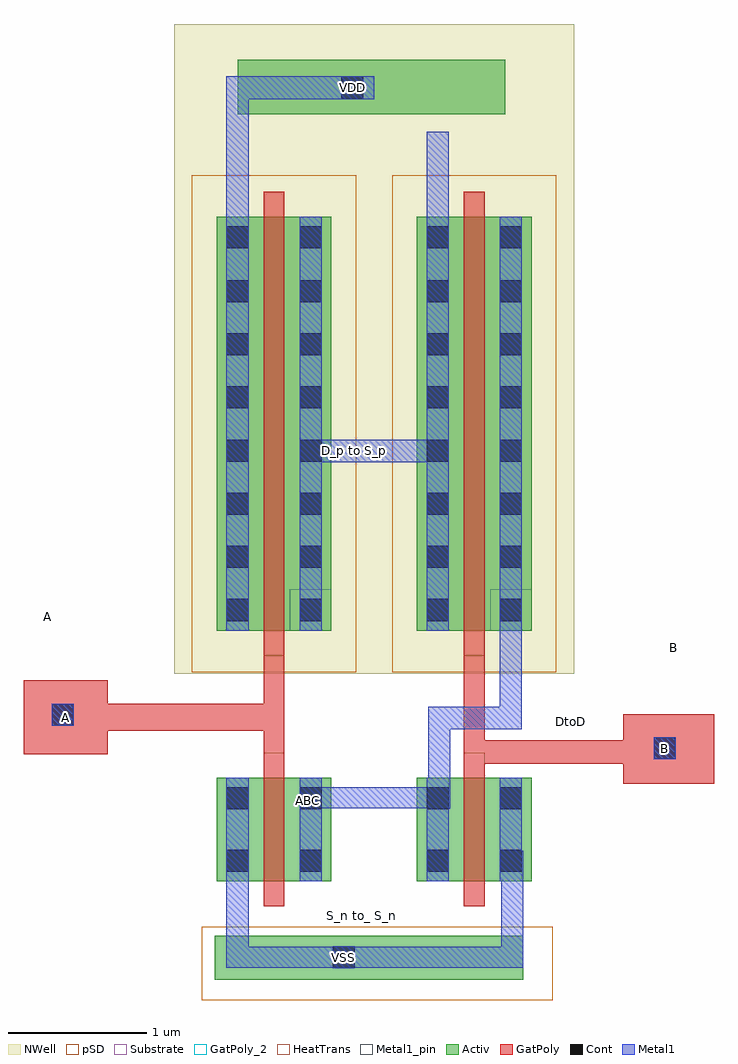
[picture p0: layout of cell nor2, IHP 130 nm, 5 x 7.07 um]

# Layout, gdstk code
import gdstk
lib = gdstk.Library(unit=1e-6, precision=5e-09)
def R(c, l, rs):  # rectangles x0, y0, x1, y1
    for r in rs: c.add(gdstk.rectangle(r[:2], r[2:], *l))
def A(c, l, x, y, w, h, nx, ny, dx, dy):  # array of equal rectangles
    R(c, l, [(x+i*dx, y+j*dy, x+i*dx+w, y+j*dy+h) for i in range(nx) for j in range(ny)])
def P(c, l, *ps):  # polygons
    for p in ps: c.add(gdstk.Polygon(p, *l))
Activ = (1, 0)
GatPoly = (5, 0)
GatPoly_2 = (5, 2)
Cont = (6, 0)
Metal1 = (8, 0)
Metal1_pin = (8, 2)
pSD = (14, 0)
NWell = (31, 0)
Substrate = (40, 0)
HeatTrans = (51, 0)

nmos_2 = lib.new_cell('nmos$2')
R(nmos_2, Activ, [(0,0,0.3,0.3), (0,0,0.83,0.75), (0.53,0,0.83,0.3)])
R(nmos_2, GatPoly, [(0.34,-0.18,0.49,0.93)])
R(nmos_2, GatPoly_2, [(0.34,-0.18,0.49,0.93)])
R(nmos_2, Cont, [(0.07,0.07,0.23,0.23), (0.6,0.07,0.76,0.23), (0.07,0.52,0.23,0.68), (0.6,0.52,0.76,0.68)])
R(nmos_2, Metal1, [(0.07,0,0.23,0.75), (0.6,0,0.76,0.75)])
R(nmos_2, Metal1_pin, [(0.07,0,0.23,0.75), (0.6,0,0.76,0.75)])
R(nmos_2, HeatTrans, [(0.34,-0.18,0.49,0.93)])
nmos_2.add(gdstk.Label('nmos', (0.415,0.375), layer=63, texttype=0))
nmos_2.add(gdstk.Label('nmos', (0.415,0.375), layer=51, texttype=0))

pmos_1 = lib.new_cell('pmos$1')
R(pmos_1, Activ, [(0,0,0.3,0.3), (0,0,0.83,3), (0.53,0,0.83,0.3)])
R(pmos_1, GatPoly, [(0.34,-0.18,0.49,3.18), (0.34,-0.18,0.49,3.18)])
A(pmos_1, Cont, 0.07, 0.07, 0.16, 0.16, 1, 7, 0, 0.385)
A(pmos_1, Cont, 0.6, 0.07, 0.16, 0.16, 1, 7, 0, 0.385)
R(pmos_1, Cont, [(0.07,2.77,0.23,2.93), (0.6,2.77,0.76,2.93)])
R(pmos_1, Metal1, [(0.07,0,0.23,3), (0.07,0,0.23,3), (0.6,0,0.76,3), (0.6,0,0.76,3)])
R(pmos_1, pSD, [(-0.18,-0.3,1.01,3.3)])
R(pmos_1, NWell, [(-0.31,-0.31,1.14,3.31)])
R(pmos_1, Substrate, [(0.53,0,0.83,0.3)])
R(pmos_1, HeatTrans, [(0.34,-0.18,0.49,3.18)])
pmos_1.add(gdstk.Label('pmos', (0.415,1.5), layer=63, texttype=0))
pmos_1.add(gdstk.Label('pmos', (0.415,1.5), layer=51, texttype=0))

nor2 = lib.new_cell('nor2')
R(nor2, Activ, [(-2.325,-1.22,-0.09,-0.9), (-2.16,5.05,-0.22,5.445)])
R(nor2, GatPoly, [(0.635,0.2,1.295,0.705), (-0.52,0.345,0.63,0.515), (-3.71,0.415,-3.1,0.95), (-1.97,0.425,-1.82,1.13), (-0.52,0.425,-0.37,1.13), (-3.1,0.585,-1.82,0.78)])
P(nor2, GatPoly, [(-0.52,1.13),(-0.52,1.13),(-0.37,1.13),(-0.37,1.13)])
R(nor2, Cont, [(-1.47,-1.135,-1.31,-0.975), (0.855,0.38,1.015,0.54), (-3.505,0.62,-3.345,0.78), (-1.41,5.165,-1.25,5.325)])
R(nor2, Metal1, [(-1.47,-1.135,-1.31,-0.975), (-2.24,-1.13,-0.09,-0.98), (-2.24,-0.98,-2.08,-0.275), (-0.25,-0.98,-0.09,-0.285), (-0.78,0.02,-0.62,0.76), (-1.71,0.025,-0.62,0.175), (0.855,0.38,1.015,0.54), (-0.78,0.595,-0.1,0.76), (-0.26,0.595,-0.1,1.52), (-3.505,0.62,-3.345,0.78), (-1.71,2.53,-0.63,2.695), (-2.24,4.085,-2.08,4.945), (-0.79,4.085,-0.63,4.925), (-2.24,4.945,-2.08,5.325), (-2.24,5.16,-1.17,5.325), (-1.405,5.165,-1.25,5.325)])
R(nor2, Metal1_pin, [(-1.47,-1.135,-1.31,-0.975), (-1.71,0.02,-1.55,0.175), (0.855,0.38,1.015,0.54), (-3.505,0.62,-3.345,0.78), (-1.405,5.165,-1.25,5.325)])
R(nor2, pSD, [(-2.42,-1.365,0.125,-0.835)])
R(nor2, NWell, [(-2.62,4.62,0.28,5.705)])
nor2.add(gdstk.Reference(nmos_2, (-2.31,-0.505)))
nor2.add(gdstk.Reference(nmos_2, (-0.86,-0.505)))
nor2.add(gdstk.Reference(pmos_1, (-2.31,1.31)))
nor2.add(gdstk.Reference(pmos_1, (-0.86,1.31)))
nor2.add(gdstk.Label('S_n to_ S_n', (-1.26,-0.755), layer=5, texttype=0))
nor2.add(gdstk.Label('A', (-3.54,1.41), layer=5, texttype=0))
nor2.add(gdstk.Label('B', (0.995,1.185), layer=5, texttype=0))
nor2.add(gdstk.Label('DtoD', (0.25,0.65), layer=8, texttype=0))
nor2.add(gdstk.Label('D_p to S_p ', (-1.3,2.615), layer=8, texttype=0))
nor2.add(gdstk.Label('VDD', (-2.535,5.905), layer=8, texttype=0))
nor2.add(gdstk.Label('A', (-3.405,0.68), layer=8, texttype=2))
nor2.add(gdstk.Label('B', (0.935,0.46), layer=8, texttype=2))
nor2.add(gdstk.Label('VSS', (-1.39,-1.055), layer=8, texttype=2))
nor2.add(gdstk.Label('VDD', (-1.33,5.245), layer=8, texttype=2))
nor2.add(gdstk.Label('ABC', (-1.65,0.08), layer=8, texttype=2))

lib.write_gds('nor2.gds')
